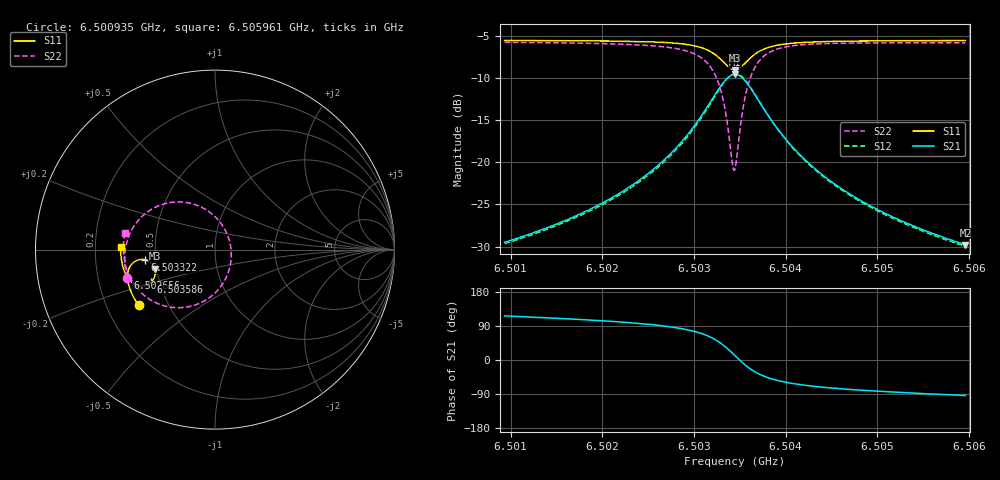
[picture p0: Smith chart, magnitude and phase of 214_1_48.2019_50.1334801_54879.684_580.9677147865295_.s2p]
#  HZ  S  RI  R  50.00
! Rohde & Schwarz Vector Network Analyzer
! Rohde-Schwarz,ZNB20-2Port,1311601062101988,3.16
! Created: UTC 3/20/2024, 11:45:39 AM
! freq[Hz]  re:S11  im:S11  re:S21  im:S21  re:S12  im:S12  re:S22  im:S22
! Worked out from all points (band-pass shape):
!   401 points, 6.500935 GHz to 6.505961 GHz, reference 50 ohm
!   highest |S21| = -9.59 dB at 6.503448 GHz (marker M1); lowest = -29.8 dB at 6.505961 GHz (marker M2)
!   |S21| within 3 dB of the highest: 6.503196 GHz to 6.503699 GHz (502.7 kHz wide, 0.00773 % of centre)
!   lowest |S11| = -9.1 dB at 6.503448 GHz (marker M3), VSWR 2.09, Z = 24.4 - j5.94 ohm
!   |S11| at or under -10 dB: nowhere
!   |S22| runs from -21.0 to -5.8 dB; largest |S21 - S12| = 0.012
!   S11 on the Smith chart (normalised r, x): 6.500935 GHz: 0.34, -0.29; 6.502656 GHz: 0.33, -0.14; 6.503322 GHz: 0.44, -0.06; 6.503586 GHz: 0.45, -0.19; 6.505961 GHz: 0.31, +0.01
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6.500935e9  -0.4256 -0.31  -0.0149 0.0301  -0.0132 0.0302  -0.4894 -0.1554
6.5017769e9  -0.462 -0.2478  -0.0143 0.0478  -0.0118 0.0474  -0.5029 -0.0662
6.5022292e9  -0.4779 -0.2078  -0.0115 0.0666  -0.00851 0.0655  -0.5 -0.00235
6.5026187e9  -0.4871 -0.165  -0.00228 0.0967  0.00142 0.0944  -0.4803 0.0751
6.5026564e9  -0.4876 -0.1601  -0.000479 0.101  0.00332 0.0985  -0.4763 0.0847
6.5029328e9  -0.4835 -0.1172  0.0264 0.1437  0.0302 0.1393  -0.4205 0.1709
6.5031213e9  -0.462 -0.0789  0.081 0.1859  0.0835 0.1798  -0.316 0.2433
6.5032344e9  -0.4292 -0.0583  0.1507 0.2034  0.1515 0.197  -0.1905 0.2655
6.5033224e9  -0.3884 -0.0568  0.2308 0.1868  0.231 0.1817  -0.0522 0.2238
6.5034229e9  -0.3421 -0.0918  0.315 0.0985  0.3176 0.0934  0.0799 0.0513
6.503448e9  -0.3359 -0.1067  0.325 0.066  0.3283 0.0598  0.0904 -0.00943
6.5034731e9  -0.333 -0.1225  0.3284 0.032  0.3319 0.0248  0.0879 -0.0716
6.503536e9  -0.3405 -0.1599  0.3097 -0.0465  0.3116 -0.0566  0.0307 -0.2074
6.5035862e9  -0.357 -0.1819  0.2757 -0.092  0.2752 -0.1034  -0.0465 -0.2783
6.5036365e9  -0.3773 -0.1949  0.2368 -0.1203  0.2335 -0.1313  -0.1284 -0.314
6.5036993e9  -0.4018 -0.2011  0.1908 -0.1364  0.1853 -0.1461  -0.2186 -0.3235
6.5038627e9  -0.4481 -0.1915  0.1085 -0.1331  0.1016 -0.138  -0.3664 -0.276
6.5040386e9  -0.4755 -0.17  0.064 -0.1126  0.0577 -0.115  -0.4383 -0.2107
6.5042899e9  -0.4963 -0.1402  0.0342 -0.0882  0.0291 -0.0886  -0.4818 -0.1382
6.5046542e9  -0.5113 -0.1021  0.0153 -0.0655  0.012 -0.0651  -0.5039 -0.0652
6.5051317e9  -0.5211 -0.0577  0.00496 -0.0482  0.00277 -0.0475  -0.5103 0.00253
6.505961e9  -0.5259 0.0125  -0.00219 -0.0323  -0.00346 -0.0316  -0.5024 0.0902
